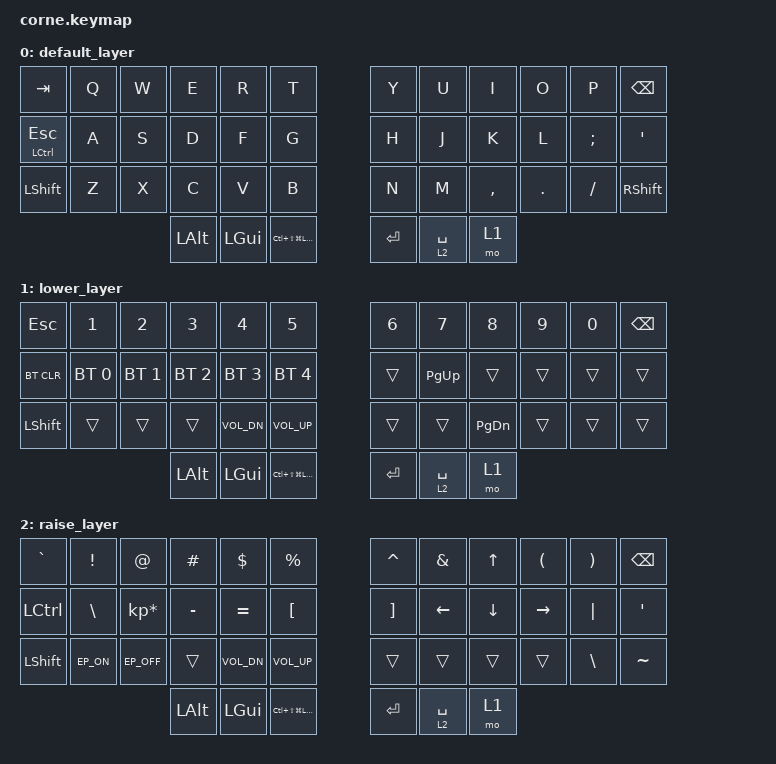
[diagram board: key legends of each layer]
/*
 * Copyright (c) 2020 The ZMK Contributors
 *
 * SPDX-License-Identifier: MIT
 */

#include <behaviors.dtsi>
#include <dt-bindings/zmk/keys.h>
#include <dt-bindings/zmk/bt.h>
#include <dt-bindings/zmk/ext_power.h>

/ {
        keymap {
                compatible = "zmk,keymap";

                default_layer {
// -----------------------------------------------------------------------------------------
// |  TAB |  Q  |  W  |  E  |  R  |  T  |   |  Y  |  U   |  I  |  O  |  P  | BKSP |
// |ex/ctl|  A  |  S  |  D  |  F  |  G  |   |  H  |  J   |  K  |  L  |  ;  |  '   |
// | SHFT |  Z  |  X  |  C  |  V  |  B  |   |  N  |  M   |  ,  |  .  |  /  | SHFT |
//                    | ALT | CMD | HYPR|   | ENT | RSE  | LWR |
                        bindings = <
   &kp TAB   &kp Q &kp W &kp E &kp R &kp T   &kp Y &kp U  &kp I     &kp O   &kp P    &kp BSPC
   &mt LCTRL ESC &kp A &kp S &kp D &kp F &kp G   &kp H &kp J  &kp K     &kp L   &kp SEMI &kp SQT
   &kp LSHFT &kp Z &kp X &kp C &kp V &kp B   &kp N &kp M  &kp COMMA &kp DOT &kp FSLH &kp RSHFT
                  &kp LALT &kp LGUI &kp LC(LS(LG(LALT)))   &kp RET &lt 2 SPACE  &mo 1
                        >;
                };
                lower_layer {
// -----------------------------------------------------------------------------------------
// |  ESC |  1  |  2  |  3  |  4  |  5  |   |  6  |  7  |  8  |  9  |  0  | BKSP |
// | BTCLR| BT1 | BT2 | BT3 | BT4 | BT5 |   |     | PGUP|     |     |     |      |
// | SHFT |     |     |     | V-  |  V+ |   |     |     |     |     |     |      |
//                    | ALT | CMD | HYPR|   | ENT | RSE | ALT |
                        bindings = <
   &kp ESC    &kp N1       &kp N2       &kp N3       &kp N4       &kp N5            &kp N6   &kp N7   &kp N8 &kp N9    &kp N0 &kp BSPC
   &bt BT_CLR &bt BT_SEL 0 &bt BT_SEL 1 &bt BT_SEL 2 &bt BT_SEL 3 &bt BT_SEL 4      &trans &kp PG_UP &trans &trans &trans &trans
   &kp LSHFT  &trans       &trans       &trans       &kp K_VOL_DN       &kp K_VOL_UP            &trans   &trans   &kp PG_DN &trans    &trans &trans
                                        &kp LALT &kp LGUI &kp LC(LS(LG(LALT)))   &kp RET &lt 2 SPACE  &mo 1
                        >;
                };

                raise_layer {
// -----------------------------------------------------------------------------------------
// |   `  |  !  |  @  |  #  |  $  |  %  |   |  ^  |  &  |  UP |  (  |  )  | BKSP |
// | CTRL |  \  |  *  | -   | =   |  [  |   |  ]  | LEFT| DWN |RIGHT| "|" |  '   |
// | SHFT |PWRON|PWROF|     | V-  | V+  |   |  _  |  +  |  [  |  ]  |  \  |  ~   | // TODO: Fix this row when &mkp is committed
//                    | ALT | CMD | HYPR|   | ENT | RSE | ALT |
                        bindings = <
   &kp GRAVE  &kp EXCL  &kp AT  &kp HASH  &kp DLLR  &kp PRCNT   &kp CARET &kp AMPS  &kp UP &kp LPAR &kp RPAR &kp BSPC
   &kp LCTRL &kp BSLH    &kp KP_ASTERISK  &kp MINUS    &kp EQUAL    &kp LBKT      &kp RBKT &kp LEFT &kp DOWN        &kp RIGHT &kp PIPE &kp APOS
   &kp LSHFT &kp EP_ON   &kp EP_OFF  &trans    &kp K_VOL_DN    &kp K_VOL_UP      &trans    &trans    &trans          &trans   &kp BSLH &kp TILDE
                                  &kp LALT &kp LGUI &kp LC(LS(LG(LALT)))   &kp RET &lt 2 SPACE  &mo 1
                        >;
                };
        };
};

